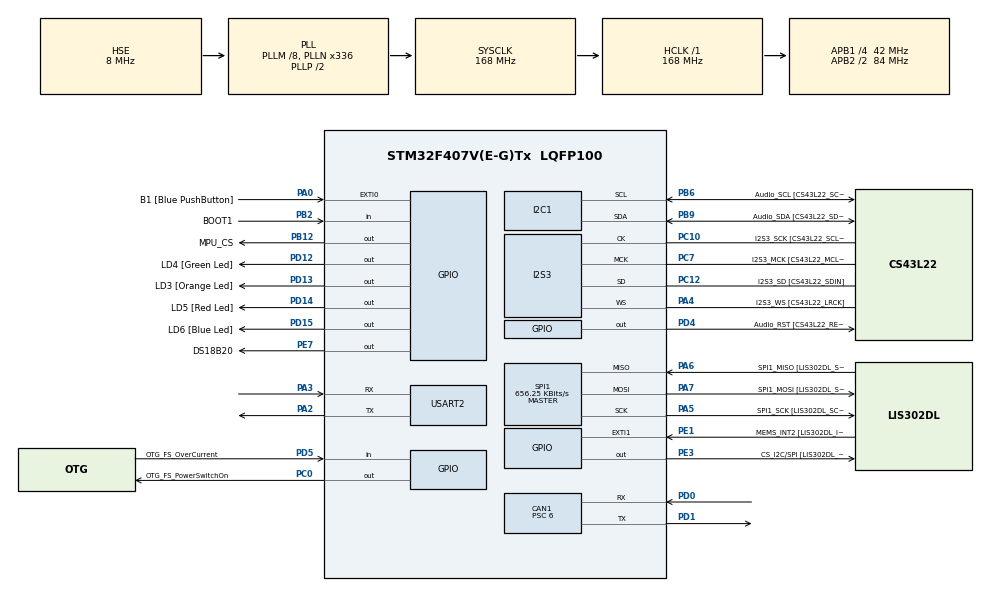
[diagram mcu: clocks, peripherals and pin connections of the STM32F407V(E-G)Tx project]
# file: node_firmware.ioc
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CAN1.ABOM=ENABLE
CAN1.BS1=CAN_BS1_11TQ
CAN1.BS2=CAN_BS2_2TQ
CAN1.CalculateBaudRate=500000
CAN1.CalculateTimeBit=2000
CAN1.CalculateTimeQuantum=142.85714285714286
CAN1.Mode=CAN_MODE_SILENT_LOOPBACK
CAN1.NART=ENABLE
CAN1.Prescaler=6
FREERTOS.Tasks01=LedTask,24,128,StartLedTask,Default,NULL,Dynamic,NULL,NULL;UartTask,16,256,StartUartTask,Default,NULL,Dynamic,NULL,NULL;SensorTask,32,256,StartSensorTask,Default,NULL,Dynamic,NULL,NULL;ProcessTask,24,512,StartProcessTask,Default,NULL,Dynamic,NULL,NULL;TempTask,16,256,StartTempTask,Default,NULL,Dynamic,NULL,NULL;CanTask,24,256,StartCanTask,Default,NULL,Dynamic,NULL,NULL
FREERTOS.configUSE_NEWLIB_REENTRANT=1
I2S3.AudioFreq-Half_Duplex_Master=I2S_AUDIOFREQ_96K
I2S3.ErrorAudioFreq=-2.34 %
I2S3.ErrorAudioFreq-Half_Duplex_Master=0.8 %
I2S3.FullDuplexMode=I2S_FULLDUPLEXMODE_DISABLE
I2S3.Instance=SPI$Index
I2S3.RealAudioFreq=93.75 KHz
I2S3.RealAudioFreq-Half_Duplex_Master=96.774 KHz
I2S3.VirtualMode=I2S_MODE_MASTER
Mcu.Family=STM32F4
Mcu.Name=STM32F407V(E-G)Tx
Mcu.Package=LQFP100
NVIC.PriorityGroup=NVIC_PRIORITYGROUP_4
NVIC.TIM6_DAC_IRQn=true\:15\:0\:false\:false\:true\:false\:false\:true\:true
NVIC.TimeBase=TIM6_DAC_IRQn
NVIC.TimeBaseIP=TIM6
PA0-WKUP.GPIO_Label=B1 [Blue PushButton]
PA0-WKUP.GPIO_ModeDefaultEXTI=GPIO_MODE_EVT_RISING
PA0-WKUP.GPIO_PuPd=GPIO_NOPULL
PA0-WKUP.Signal=GPXTI0
PA10.GPIO_Label=OTG_FS_ID
PA10.GPIO_Mode=GPIO_MODE_AF_PP
PA10.GPIO_PuPd=GPIO_NOPULL
PA10.GPIO_Speed=GPIO_SPEED_FREQ_LOW
PA10.Signal=USB_OTG_FS_ID
PA11.GPIO_Label=OTG_FS_DM
PA11.GPIO_Mode=GPIO_MODE_AF_PP
PA11.GPIO_PuPd=GPIO_NOPULL
PA11.GPIO_Speed=GPIO_SPEED_FREQ_LOW
PA11.Signal=USB_OTG_FS_DM
PA12.GPIO_Label=OTG_FS_DP
PA12.GPIO_Mode=GPIO_MODE_AF_PP
PA12.GPIO_PuPd=GPIO_NOPULL
PA12.GPIO_Speed=GPIO_SPEED_FREQ_LOW
PA12.Signal=USB_OTG_FS_DP
PA13.GPIO_Label=SWDIO
PA13.Mode=Trace_Asynchronous_SW
PA13.Signal=SYS_JTMS-SWDIO
PA14.GPIO_Label=SWCLK
PA14.Mode=Trace_Asynchronous_SW
PA14.Signal=SYS_JTCK-SWCLK
PA2.Mode=Asynchronous
PA2.Signal=USART2_TX
PA3.Mode=Asynchronous
PA3.Signal=USART2_RX
PA4.GPIO_Label=I2S3_WS [CS43L22_LRCK]
PA4.GPIO_Mode=GPIO_MODE_AF_PP
PA4.GPIO_PuPd=GPIO_NOPULL
PA4.GPIO_Speed=GPIO_SPEED_FREQ_LOW
PA4.Mode=Half_Duplex_Master
PA4.Signal=I2S3_WS
PA5.GPIO_Label=SPI1_SCK [LIS302DL_SCL/SPC]
PA5.GPIO_Mode=GPIO_MODE_AF_PP
PA5.GPIO_PuPd=GPIO_NOPULL
PA5.GPIO_Speed=GPIO_SPEED_FREQ_LOW
PA5.Mode=Full_Duplex_Master
PA5.Signal=SPI1_SCK
PA6.GPIO_Label=SPI1_MISO [LIS302DL_SDO]
PA6.GPIO_Mode=GPIO_MODE_AF_PP
PA6.GPIO_PuPd=GPIO_NOPULL
PA6.GPIO_Speed=GPIO_SPEED_FREQ_LOW
PA6.Mode=Full_Duplex_Master
PA6.Signal=SPI1_MISO
PA7.GPIO_Label=SPI1_MOSI [LIS302DL_SDA/SDI/SDO]
PA7.GPIO_Mode=GPIO_MODE_AF_PP
PA7.GPIO_PuPd=GPIO_NOPULL
PA7.GPIO_Speed=GPIO_SPEED_FREQ_LOW
PA7.Mode=Full_Duplex_Master
PA7.Signal=SPI1_MOSI
PA9.GPIO_Label=VBUS_FS
PA9.GPIO_Mode=GPIO_MODE_INPUT
PA9.GPIO_PuPd=GPIO_NOPULL
PA9.Signal=USB_OTG_FS_VBUS
PB10.GPIO_Label=CLK_IN [MP45DT02_CLK]
PB10.GPIO_Mode=GPIO_MODE_AF_PP
PB10.GPIO_PuPd=GPIO_NOPULL
PB10.GPIO_Speed=GPIO_SPEED_FREQ_LOW
PB10.Signal=I2S2_CK
PB12.GPIO_Label=MPU_CS
PB12.GPIO_Speed=GPIO_SPEED_FREQ_HIGH
PB12.PinState=GPIO_PIN_SET
PB12.Signal=GPIO_Output
PB2.GPIO_Label=BOOT1
PB2.GPIO_Mode=GPIO_MODE_INPUT
PB2.GPIO_PuPd=GPIO_NOPULL
PB2.Signal=GPIO_Input
PB3.GPIO_Label=SWO
PB3.Mode=Trace_Asynchronous_SW
PB3.Signal=SYS_JTDO-SWO
PB6.GPIO_Label=Audio_SCL [CS43L22_SCL]
PB6.GPIO_Mode=GPIO_MODE_AF_OD
PB6.GPIO_Pu=GPIO_PULLUP
PB6.GPIO_PuPd=GPIO_NOPULL
PB6.GPIO_Speed=GPIO_SPEED_FREQ_LOW
PB6.Mode=I2C
PB6.Signal=I2C1_SCL
PB9.GPIO_Label=Audio_SDA [CS43L22_SDA]
PB9.GPIO_Mode=GPIO_MODE_AF_OD
PB9.GPIO_Pu=GPIO_PULLUP
PB9.GPIO_PuPd=GPIO_NOPULL
PB9.GPIO_Speed=GPIO_SPEED_FREQ_LOW
PB9.Mode=I2C
PB9.Signal=I2C1_SDA
PC0.GPIO_Label=OTG_FS_PowerSwitchOn
PC0.GPIO_PuPd=GPIO_NOPULL
PC0.GPIO_Speed=GPIO_SPEED_FREQ_LOW
PC0.PinState=GPIO_PIN_SET
PC0.Signal=GPIO_Output
PC10.GPIO_Label=I2S3_SCK [CS43L22_SCLK]
PC10.GPIO_Mode=GPIO_MODE_AF_PP
PC10.GPIO_PuPd=GPIO_NOPULL
PC10.GPIO_Speed=GPIO_SPEED_FREQ_LOW
PC10.Mode=Half_Duplex_Master
PC10.Signal=I2S3_CK
PC12.GPIO_Label=I2S3_SD [CS43L22_SDIN]
PC12.GPIO_Mode=GPIO_MODE_AF_PP
PC12.GPIO_PuPd=GPIO_NOPULL
PC12.GPIO_Speed=GPIO_SPEED_FREQ_LOW
PC12.Mode=Half_Duplex_Master
PC12.Signal=I2S3_SD
PC14-OSC32_IN.GPIO_Label=PC14-OSC32_IN
PC14-OSC32_IN.Mode=LSE-External-Oscillator
PC14-OSC32_IN.Signal=RCC_OSC32_IN
PC15-OSC32_OUT.GPIO_Label=PC15-OSC32_OUT
PC15-OSC32_OUT.Mode=LSE-External-Oscillator
PC15-OSC32_OUT.Signal=RCC_OSC32_OUT
PC3.GPIO_Label=PDM_OUT [MP45DT02_DOUT]
PC3.GPIO_Mode=GPIO_MODE_AF_PP
PC3.GPIO_PuPd=GPIO_NOPULL
PC3.GPIO_Speed=GPIO_SPEED_FREQ_LOW
PC3.Signal=I2S2_SD
PC7.GPIO_Label=I2S3_MCK [CS43L22_MCLK]
PC7.GPIO_Mode=GPIO_MODE_AF_PP
PC7.GPIO_PuPd=GPIO_NOPULL
PC7.GPIO_Speed=GPIO_SPEED_FREQ_LOW
PC7.Mode=Master_Clock_Activated
PC7.Signal=I2S3_MCK
PD0.GPIO_PuPd=GPIO_PULLUP
PD0.Mode=CAN_Activate
PD0.Signal=CAN1_RX
PD1.Mode=CAN_Activate
PD1.Signal=CAN1_TX
PD12.GPIO_Label=LD4 [Green Led]
PD12.GPIO_PuPd=GPIO_NOPULL
PD12.GPIO_Speed=GPIO_SPEED_FREQ_LOW
PD12.Signal=GPIO_Output
PD13.GPIO_Label=LD3 [Orange Led]
PD13.GPIO_PuPd=GPIO_NOPULL
PD13.GPIO_Speed=GPIO_SPEED_FREQ_LOW
PD13.Signal=GPIO_Output
PD14.GPIO_Label=LD5 [Red Led]
PD14.GPIO_PuPd=GPIO_NOPULL
PD14.GPIO_Speed=GPIO_SPEED_FREQ_LOW
PD14.Signal=GPIO_Output
PD15.GPIO_Label=LD6 [Blue Led]
PD15.GPIO_PuPd=GPIO_NOPULL
PD15.GPIO_Speed=GPIO_SPEED_FREQ_LOW
PD15.Signal=GPIO_Output
PD4.GPIO_Label=Audio_RST [CS43L22_RESET]
PD4.GPIO_PuPd=GPIO_NOPULL
PD4.GPIO_Speed=GPIO_SPEED_FREQ_LOW
PD4.Signal=GPIO_Output
PD5.GPIO_Label=OTG_FS_OverCurrent
PD5.GPIO_Mode=GPIO_MODE_INPUT
PD5.GPIO_PuPd=GPIO_NOPULL
PD5.Signal=GPIO_Input
PE1.GPIO_Label=MEMS_INT2 [LIS302DL_INT2]
PE1.GPIO_ModeDefaultEXTI=GPIO_MODE_EVT_RISING
PE1.GPIO_PuPd=GPIO_NOPULL
PE1.Signal=GPXTI1
PE3.GPIO_Label=CS_I2C/SPI [LIS302DL_CS_I2C/SPI]
PE3.GPIO_PuPd=GPIO_NOPULL
PE3.GPIO_Speed=GPIO_SPEED_FREQ_LOW
PE3.Signal=GPIO_Output
PE7.GPIO_Label=DS18B20
PE7.GPIO_ModeDefaultOutputPP=GPIO_MODE_OUTPUT_OD
PE7.GPIO_PuPd=GPIO_NOPULL
PE7.GPIO_Speed=GPIO_SPEED_FREQ_HIGH
PE7.PinState=GPIO_PIN_SET
PE7.Signal=GPIO_Output
PH0-OSC_IN.GPIO_Label=PH0-OSC_IN
PH0-OSC_IN.Mode=HSE-External-Oscillator
PH0-OSC_IN.Signal=RCC_OSC_IN
PH1-OSC_OUT.GPIO_Label=PH1-OSC_OUT
PH1-OSC_OUT.Mode=HSE-External-Oscillator
PH1-OSC_OUT.Signal=RCC_OSC_OUT
ProjectManager.HeapSize=0x200
ProjectManager.StackSize=0x400
ProjectManager.TargetToolchain=STM32CubeIDE
RCC.48MHZClocksFreq_Value=48000000
RCC.AHBFreq_Value=168000000
RCC.APB1CLKDivider=RCC_HCLK_DIV4
RCC.APB1Freq_Value=42000000
RCC.APB1TimFreq_Value=84000000
RCC.APB2CLKDivider=RCC_HCLK_DIV2
RCC.APB2Freq_Value=84000000
RCC.APB2TimFreq_Value=168000000
RCC.CortexFreq_Value=168000000
RCC.HCLKFreq_Value=168000000
RCC.HSE_VALUE=8000000
RCC.HSI_VALUE=16000000
RCC.PLLM=8
RCC.PLLN=336
RCC.PLLQ=7
RCC.PLLSourceVirtual=RCC_PLLSOURCE_HSE
RCC.SYSCLKFreq_VALUE=168000000
RCC.SYSCLKSource=RCC_SYSCLKSOURCE_PLLCLK
RCC.VCOOutputFreq_Value=336000000
SPI1.BaudRatePrescaler=SPI_BAUDRATEPRESCALER_128
SPI1.BaudRatePrescaler-Full_Duplex_Master=SPI_BAUDRATEPRESCALER_2
SPI1.CLKPhase=SPI_PHASE_2EDGE
SPI1.CLKPolarity=SPI_POLARITY_HIGH
SPI1.CalculateBaudRate=656.25 KBits/s
SPI1.CalculateBaudRate-Full_Duplex_Master=42.0 MBits/s
SPI1.Direction=SPI_DIRECTION_2LINES
SPI1.Mode=SPI_MODE_MASTER
SPI1.Mode-Full_Duplex_Master=SPI_MODE_MASTER
SPI1.VirtualType=VM_MASTER
USART2.VirtualMode=VM_ASYNC
VP_FREERTOS_VS_CMSIS_V2.Mode=CMSIS_V2
VP_SYS_VS_tim6.Mode=TIM6
board=STM32F407G-DISC1

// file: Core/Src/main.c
/* USER CODE BEGIN Header */
/**
  ******************************************************************************
  * @file           : main.c
  * @brief          : Main program body
  ******************************************************************************
  * @attention
  *
  * Copyright (c) 2026 STMicroelectronics.
  * All rights reserved.
  *
  * This software is licensed under terms that can be found in the LICENSE file
  * in the root directory of this software component.
  * If no LICENSE file comes with this software, it is provided AS-IS.
  *
  ******************************************************************************
  */
/* USER CODE END Header */
#include "main.h"
#include "cmsis_os.h"
#include "can.h"
#include "i2c.h"
#include "i2s.h"
#include "spi.h"
#include "usart.h"
#include "gpio.h"

void SystemClock_Config(void);
void MX_FREERTOS_Init(void);

int main(void)
{

  /* MCU Configuration--------------------------------------------------------*/

  /* Reset of all peripherals, Initializes the Flash interface and the Systick. */
  HAL_Init();

  /* Configure the system clock */
  SystemClock_Config();

  /* Initialize all configured peripherals */
  MX_GPIO_Init();
  MX_I2C1_Init();
  MX_I2S3_Init();
  MX_SPI1_Init();
  MX_USART2_UART_Init();
  MX_CAN1_Init();

  /* Init scheduler */
  osKernelInitialize();  /* Call init function for freertos objects (in cmsis_os2.c) */
  MX_FREERTOS_Init();

  /* Start scheduler */
  osKernelStart();

  /* We should never get here as control is now taken by the scheduler */

  /* Infinite loop */
  while (1)
  {

  }
}

void SystemClock_Config(void)
{
  RCC_OscInitTypeDef RCC_OscInitStruct = {0};
  RCC_ClkInitTypeDef RCC_ClkInitStruct = {0};

  /** Configure the main internal regulator output voltage
  */
  __HAL_RCC_PWR_CLK_ENABLE();
  __HAL_PWR_VOLTAGESCALING_CONFIG(PWR_REGULATOR_VOLTAGE_SCALE1);

  /** Initializes the RCC Oscillators according to the specified parameters
  * in the RCC_OscInitTypeDef structure.
  */
  RCC_OscInitStruct.OscillatorType = RCC_OSCILLATORTYPE_HSE;
  RCC_OscInitStruct.HSEState = RCC_HSE_ON;
  RCC_OscInitStruct.PLL.PLLState = RCC_PLL_ON;
  RCC_OscInitStruct.PLL.PLLSource = RCC_PLLSOURCE_HSE;
  RCC_OscInitStruct.PLL.PLLM = 8;
  RCC_OscInitStruct.PLL.PLLN = 336;
  RCC_OscInitStruct.PLL.PLLP = RCC_PLLP_DIV2;
  RCC_OscInitStruct.PLL.PLLQ = 7;
  if (HAL_RCC_OscConfig(&RCC_OscInitStruct) != HAL_OK)
  {
    Error_Handler();
  }

  /** Initializes the CPU, AHB and APB buses clocks
  */
  RCC_ClkInitStruct.ClockType = RCC_CLOCKTYPE_HCLK|RCC_CLOCKTYPE_SYSCLK
                              |RCC_CLOCKTYPE_PCLK1|RCC_CLOCKTYPE_PCLK2;
  RCC_ClkInitStruct.SYSCLKSource = RCC_SYSCLKSOURCE_PLLCLK;
  RCC_ClkInitStruct.AHBCLKDivider = RCC_SYSCLK_DIV1;
  RCC_ClkInitStruct.APB1CLKDivider = RCC_HCLK_DIV4;
  RCC_ClkInitStruct.APB2CLKDivider = RCC_HCLK_DIV2;

  if (HAL_RCC_ClockConfig(&RCC_ClkInitStruct, FLASH_LATENCY_5) != HAL_OK)
  {
    Error_Handler();
  }
}

void HAL_TIM_PeriodElapsedCallback(TIM_HandleTypeDef *htim)
{
  if (htim->Instance == TIM6)
  {
    HAL_IncTick();
  }
}

void Error_Handler(void)
{
  __disable_irq();
  while (1)
  {
  }
}

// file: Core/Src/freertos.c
/* USER CODE BEGIN Header */
/**
  ******************************************************************************
  * File Name          : freertos.c
  * Description        : Code for freertos applications
  ******************************************************************************
  * @attention
  *
  * Copyright (c) 2026 STMicroelectronics.
  * All rights reserved.
  *
  * This software is licensed under terms that can be found in the LICENSE file
  * in the root directory of this software component.
  * If no LICENSE file comes with this software, it is provided AS-IS.
  *
  ******************************************************************************
  */
/* USER CODE END Header */

#include "FreeRTOS.h"
#include "task.h"
#include "main.h"
#include "cmsis_os.h"

/* USER CODE BEGIN Includes */
#include <stdio.h>
#include "spi.h"
#include "can.h"
#include <math.h>
#include <stdlib.h>

/* USER CODE END Includes */

/* USER CODE BEGIN PTD */
/* One accelerometer sample sent from SensorTask to ProcessTask */
typedef struct {
  int16_t  ax;     /* raw value, X axis */
  int16_t  ay;     /* raw value, Y axis */
  int16_t  az;     /* raw value, Z axis */
  uint32_t tick;   /* time of the measurement, in ms */
} AccelSample_t;
/* Vibration features computed by ProcessTask over 1 s */
typedef struct {
  uint16_t rms_mg;    /* RMS of the vibration (gravity removed) */
  uint16_t peak_mg;   /* highest vibration value in the window */
  uint32_t tick;      /* end of the window, in ms */
} VibFeature_t;

/* Latest temperature, shared between TempTask and UartTask */
typedef struct {
  float   temp_c;
  uint8_t status;     /* 0 = OK, 1 = sensor not found, 2 = read error (PROTOCOL.md) */
} TempData_t;

/* USER CODE END PTD */

/* USER CODE BEGIN PD */
#define VIB_WINDOW   100      /* 100 samples x 10 ms = 1 s window */
#define RAW_PER_G    16384    /* +-2 g range: 16384 raw units = 1 g */

/* CAN protocol (docs/PROTOCOL.md): ID = 0x100 * NODE_ID + message type */
#define NODE_ID          1
#define CAN_MSG_VIB      0x01
#define CAN_MSG_TEMP     0x02
#define CAN_MSG_HB       0x03
#define CAN_ID(type)     (0x100 * NODE_ID + (type))

/* Error flags sent in the heartbeat (byte 1) */
#define ERR_IMU          0x01
#define ERR_TEMP         0x02
#define ERR_QUEUE_FULL   0x04
#define ERR_CAN_TX       0x08

/* USER CODE END PD */

/* USER CODE BEGIN Variables */
osMessageQueueId_t accelQueueHandle;
osMessageQueueId_t featureQueueHandle;
osMutexId_t        tempMutexHandle;
TempData_t         g_temp = { 0.0f, 1 };   /* "not found" until the first reading */
volatile uint8_t   g_err_flags = 0;        /* ERR_xxx bits, sent in the heartbeat */

/* USER CODE END Variables */
/* Definitions for LedTask */
osThreadId_t LedTaskHandle;
const osThreadAttr_t LedTask_attributes = {
  .name = "LedTask",
  .stack_size = 128 * 4,
  .priority = (osPriority_t) osPriorityNormal,
};
/* Definitions for UartTask */
osThreadId_t UartTaskHandle;
const osThreadAttr_t UartTask_attributes = {
  .name = "UartTask",
  .stack_size = 256 * 4,
  .priority = (osPriority_t) osPriorityBelowNormal,
};
/* Definitions for SensorTask */
osThreadId_t SensorTaskHandle;
const osThreadAttr_t SensorTask_attributes = {
  .name = "SensorTask",
  .stack_size = 256 * 4,
  .priority = (osPriority_t) osPriorityAboveNormal,
};
/* Definitions for ProcessTask */
osThreadId_t ProcessTaskHandle;
const osThreadAttr_t ProcessTask_attributes = {
  .name = "ProcessTask",
  .stack_size = 512 * 4,
  .priority = (osPriority_t) osPriorityNormal,
};
/* Definitions for TempTask */
osThreadId_t TempTaskHandle;
const osThreadAttr_t TempTask_attributes = {
  .name = "TempTask",
  .stack_size = 256 * 4,
  .priority = (osPriority_t) osPriorityBelowNormal,
};
/* Definitions for CanTask */
osThreadId_t CanTaskHandle;
const osThreadAttr_t CanTask_attributes = {
  .name = "CanTask",
  .stack_size = 256 * 4,
  .priority = (osPriority_t) osPriorityNormal,
};

/* USER CODE BEGIN FunctionPrototypes */

/* Read one MPU9250 register over SPI1 */
static uint8_t mpu_read(uint8_t reg)
{
  uint8_t tx[2] = { reg | 0x80, 0x00 };   /* bit 7 = 1 means "read" */
  uint8_t rx[2] = { 0 };
  HAL_GPIO_WritePin(MPU_CS_GPIO_Port, MPU_CS_Pin, GPIO_PIN_RESET); /* select */
  HAL_SPI_TransmitReceive(&hspi1, tx, rx, 2, 100);
  HAL_GPIO_WritePin(MPU_CS_GPIO_Port, MPU_CS_Pin, GPIO_PIN_SET);   /* release */
  return rx[1];                            /* 2nd byte = register value */
}

/* Write one MPU9250 register over SPI1 */
static void mpu_write(uint8_t reg, uint8_t value)
{
  uint8_t tx[2] = { reg & 0x7F, value };  /* bit 7 = 0 means "write" */
  HAL_GPIO_WritePin(MPU_CS_GPIO_Port, MPU_CS_Pin, GPIO_PIN_RESET);
  HAL_SPI_Transmit(&hspi1, tx, 2, 100);
  HAL_GPIO_WritePin(MPU_CS_GPIO_Port, MPU_CS_Pin, GPIO_PIN_SET);
}
/* Read several MPU registers in a row (burst read) */
static void mpu_read_burst(uint8_t reg, uint8_t *buf, uint16_t len)
{
  uint8_t addr = reg | 0x80;                                    /* read */
  HAL_GPIO_WritePin(MPU_CS_GPIO_Port, MPU_CS_Pin, GPIO_PIN_RESET);
  HAL_SPI_Transmit(&hspi1, &addr, 1, 100);
  HAL_SPI_Receive(&hspi1, buf, len, 100);
  HAL_GPIO_WritePin(MPU_CS_GPIO_Port, MPU_CS_Pin, GPIO_PIN_SET);
}
/* ---------- microsecond delay with the DWT cycle counter ---------- */
static void dwt_init(void)
{
  CoreDebug->DEMCR |= CoreDebug_DEMCR_TRCENA_Msk;
  DWT->CYCCNT = 0;
  DWT->CTRL  |= DWT_CTRL_CYCCNTENA_Msk;
}

static void delay_us(uint32_t us)
{
  uint32_t start = DWT->CYCCNT;
  uint32_t ticks = us * (SystemCoreClock / 1000000U);
  while ((DWT->CYCCNT - start) < ticks) { }
}

/* ---------- 1-Wire on PE7 (open drain + 4.7 k pull-up) ---------- */
#define OW_LOW()   HAL_GPIO_WritePin(DS18B20_GPIO_Port, DS18B20_Pin, GPIO_PIN_RESET)
#define OW_REL()   HAL_GPIO_WritePin(DS18B20_GPIO_Port, DS18B20_Pin, GPIO_PIN_SET)
#define OW_READ()  HAL_GPIO_ReadPin(DS18B20_GPIO_Port, DS18B20_Pin)

/* Reset pulse; returns 1 if a sensor answers (presence pulse) */
static uint8_t ow_reset(void)
{
  uint8_t present;
  taskENTER_CRITICAL();             /* 1-Wire timing must not be interrupted */
  OW_LOW();  delay_us(480);
  OW_REL();  delay_us(70);
  present = (OW_READ() == GPIO_PIN_RESET);
  taskEXIT_CRITICAL();
  delay_us(410);
  return present;
}

static void ow_write_bit(uint8_t b)
{
  taskENTER_CRITICAL();
  OW_LOW();
  if (b) { delay_us(6);  OW_REL(); delay_us(64); }
  else   { delay_us(60); OW_REL(); delay_us(10); }
  taskEXIT_CRITICAL();
}

static uint8_t ow_read_bit(void)
{
  uint8_t b;
  taskENTER_CRITICAL();
  OW_LOW();  delay_us(6);
  OW_REL();  delay_us(9);
  b = (OW_READ() == GPIO_PIN_SET);
  taskEXIT_CRITICAL();
  delay_us(55);
  return b;
}

static void ow_write_byte(uint8_t v)
{
  for (int i = 0; i < 8; i++) { ow_write_bit(v & 0x01); v >>= 1; }   /* LSB first */
}

static uint8_t ow_read_byte(void)
{
  uint8_t v = 0;
  for (int i = 0; i < 8; i++) { if (ow_read_bit()) v |= (1 << i); }
  return v;
}

/* Dallas/Maxim CRC-8, to check the data is not corrupted */
static uint8_t ow_crc8(const uint8_t *d, int len)
{
  uint8_t crc = 0;
  for (int i = 0; i < len; i++) {
    uint8_t in = d[i];
    for (int j = 0; j < 8; j++) {
      uint8_t mix = (crc ^ in) & 0x01;
      crc >>= 1;
      if (mix) crc ^= 0x8C;
      in >>= 1;
    }
  }
  return crc;
}

/* Reads the DS18B20. Returns 0 = OK, 1 = not found, 2 = read error (CRC) */
static uint8_t ds18b20_read(float *temp_c)
{
  uint8_t sp[9];
  if (!ow_reset()) return 1;
  ow_write_byte(0xCC);          /* SKIP ROM: only one sensor on the wire */
  ow_write_byte(0x44);          /* CONVERT T: start a measurement */
  osDelay(750);                 /* 12-bit conversion takes up to 750 ms */
  if (!ow_reset()) return 1;
  ow_write_byte(0xCC);
  ow_write_byte(0xBE);          /* READ SCRATCHPAD: 9 bytes */
  for (int i = 0; i < 9; i++) sp[i] = ow_read_byte();
  if (ow_crc8(sp, 8) != sp[8]) return 2;
  int16_t raw = (int16_t)((sp[1] << 8) | sp[0]);
  *temp_c = raw / 16.0f;        /* 1 LSB = 0.0625 degC */
  return 0;
}

/* ---------- error flags (shared by several tasks) ---------- */
static void set_err(uint8_t flag)
{
  taskENTER_CRITICAL();          /* read-modify-write must not be interrupted */
  g_err_flags |= flag;
  taskEXIT_CRITICAL();
}

static void clear_err(uint8_t flag)
{
  taskENTER_CRITICAL();
  g_err_flags &= (uint8_t)~flag;
  taskEXIT_CRITICAL();
}

/* ---------- CAN ---------- */
/* Accept every standard frame into RX FIFO 0, then start CAN1 */
/* Accept every standard frame into RX FIFO 0, then start CAN1 */
static void can_start(void)
{
  CAN_FilterTypeDef f = {0};
  f.FilterBank           = 0;
  f.FilterMode           = CAN_FILTERMODE_IDMASK;
  f.FilterScale          = CAN_FILTERSCALE_32BIT;
  f.FilterIdHigh         = 0x0000;
  f.FilterIdLow          = 0x0000;
  f.FilterMaskIdHigh     = 0x0000;   /* mask 0 = accept all IDs */
  f.FilterMaskIdLow      = 0x0000;
  f.FilterFIFOAssignment = CAN_RX_FIFO0;
  f.FilterActivation     = ENABLE;
  f.SlaveStartFilterBank = 14;

  HAL_StatusTypeDef st1 = HAL_CAN_ConfigFilter(&hcan1, &f);
  HAL_StatusTypeDef st2 = HAL_CAN_Start(&hcan1);
  printf("CAN filter=%d start=%d mode=%s err=0x%08lX state=%d MSR=0x%08lX BTR=0x%08lX\r\n",
         st1, st2,
         hcan1.Init.Mode == CAN_MODE_SILENT_LOOPBACK ? "silent-loopback" : "NOT loopback",
         hcan1.ErrorCode, hcan1.State, CAN1->MSR, CAN1->BTR);
}

/* Send one standard frame; waits up to 10 ms for a free mailbox */
static void can_send(uint16_t id, const uint8_t *data, uint8_t len)
{
  CAN_TxHeaderTypeDef h = {0};
  uint32_t mailbox;
  h.StdId = id;
  h.IDE   = CAN_ID_STD;
  h.RTR   = CAN_RTR_DATA;
  h.DLC   = len;

  uint32_t t0 = osKernelGetTickCount();
  while (HAL_CAN_GetTxMailboxesFreeLevel(&hcan1) == 0)
  {
    if (osKernelGetTickCount() - t0 > 10) { set_err(ERR_CAN_TX); return; }
    osDelay(1);
  }
  if (HAL_CAN_AddTxMessage(&hcan1, &h, (uint8_t *)data, &mailbox) != HAL_OK)
    set_err(ERR_CAN_TX);
}

/* Little-endian helpers, as in PROTOCOL.md */
static void put_u16(uint8_t *p, uint16_t v) { p[0] = v & 0xFF; p[1] = v >> 8; }
static void put_u32(uint8_t *p, uint32_t v)
{
  p[0] = v & 0xFF; p[1] = (v >> 8) & 0xFF; p[2] = (v >> 16) & 0xFF; p[3] = v >> 24;
}

/* USER CODE END FunctionPrototypes */

void StartLedTask(void *argument);
void StartUartTask(void *argument);
void StartSensorTask(void *argument);
void StartProcessTask(void *argument);
void StartTempTask(void *argument);
void StartCanTask(void *argument);

void MX_FREERTOS_Init(void); /* (MISRA C 2004 rule 8.1) */

void MX_FREERTOS_Init(void) {

  /* USER CODE BEGIN RTOS_MUTEX */
  tempMutexHandle = osMutexNew(NULL);
  /* USER CODE END RTOS_MUTEX */

  /* USER CODE BEGIN RTOS_QUEUES */
  /* add queues, ... */
  /* Queue of 32 raw samples: SensorTask -> ProcessTask */
  accelQueueHandle = osMessageQueueNew(32, sizeof(AccelSample_t), NULL);
  /* Queue of 8 vibration results: ProcessTask -> CanTask */
  featureQueueHandle = osMessageQueueNew(8, sizeof(VibFeature_t), NULL);
  /* USER CODE END RTOS_QUEUES */

  /* Create the thread(s) */
  /* creation of LedTask */
  LedTaskHandle = osThreadNew(StartLedTask, NULL, &LedTask_attributes);

  /* creation of UartTask */
  UartTaskHandle = osThreadNew(StartUartTask, NULL, &UartTask_attributes);

  /* creation of SensorTask */
  SensorTaskHandle = osThreadNew(StartSensorTask, NULL, &SensorTask_attributes);

  /* creation of ProcessTask */
  ProcessTaskHandle = osThreadNew(StartProcessTask, NULL, &ProcessTask_attributes);

  /* creation of TempTask */
  TempTaskHandle = osThreadNew(StartTempTask, NULL, &TempTask_attributes);

  /* creation of CanTask */
  CanTaskHandle = osThreadNew(StartCanTask, NULL, &CanTask_attributes);

}

/* USER CODE BEGIN Header_StartLedTask */
/**
  * @brief  Function implementing the LedTask thread: green LED = system alive.
  * @param  argument: Not used
  * @retval None
  */
/* USER CODE END Header_StartLedTask */
void StartLedTask(void *argument)
{
  /* USER CODE BEGIN StartLedTask */
  for(;;)
  {
    HAL_GPIO_TogglePin(LD4_GPIO_Port, LD4_Pin);   /* green LED = system alive */
    osDelay(500);
  }
  /* USER CODE END StartLedTask */
}

/* USER CODE BEGIN Header_StartUartTask */
/* CAN monitor: prints every frame received on CAN1 (SLCAN format + decoded) */
/* USER CODE END Header_StartUartTask */
void StartUartTask(void *argument)
{
  /* USER CODE BEGIN StartUartTask */
  setvbuf(stdout, NULL, _IONBF, 0);
  printf("\r\n=== node_firmware started (node %d) ===\r\n", NODE_ID);

  CAN_RxHeaderTypeDef h;
  uint8_t d[8];
  for(;;)
  {
    while (HAL_CAN_GetRxFifoFillLevel(&hcan1, CAN_RX_FIFO0) > 0)
    {
      if (HAL_CAN_GetRxMessage(&hcan1, CAN_RX_FIFO0, &h, d) != HAL_OK) break;

      /* 1) SLCAN text line, e.g. "t1015 2C01A0030A" (what a USB-CAN adapter sends to Linux) */
      printf("t%03lX%lu", h.StdId, h.DLC);
      for (uint32_t i = 0; i < h.DLC; i++) printf("%02X", d[i]);

      /* 2) human-readable decoding, same rules as gateway/protocol.py */
      uint8_t type = h.StdId & 0xFF;
      if (type == CAN_MSG_VIB && h.DLC >= 5)
        printf("   -> vibration RMS=%u mg peak=%u mg counter=%u\r\n",
               d[0] | (d[1] << 8), d[2] | (d[3] << 8), d[4]);
      else if (type == CAN_MSG_TEMP && h.DLC >= 3)
      {
        int16_t t100 = (int16_t)(d[0] | (d[1] << 8));
        printf("   -> temperature %d.%02d C status=%u\r\n", t100 / 100, abs(t100 % 100), d[2]);
      }
      else if (type == CAN_MSG_HB && h.DLC >= 6)
        printf("   -> heartbeat state=%u flags=0x%02X uptime=%lu s\r\n", d[0], d[1],
               (uint32_t)(d[2] | (d[3] << 8) | (d[4] << 16) | ((uint32_t)d[5] << 24)));
      else
        printf("\r\n");
    }
    osDelay(10);
  }
  /* USER CODE END StartUartTask */
}

/* USER CODE BEGIN Header_StartSensorTask */
/* Reads the MPU accelerometer every 10 ms and sends the sample to accelQueue */
/* USER CODE END Header_StartSensorTask */
void StartSensorTask(void *argument)
{
  /* USER CODE BEGIN StartSensorTask */
  /* Keep the on-board LIS3DSH deselected: it shares SPI1 */
  HAL_GPIO_WritePin(GPIOE, GPIO_PIN_3, GPIO_PIN_SET);

  /* --- MPU init (no software reset: it leaves the data registers at 0 over SPI) --- */
  osDelay(100);              /* let the sensor power up */
  mpu_write(0x6A, 0x10);     /* USER_CTRL: SPI only */
  mpu_write(0x6B, 0x01);     /* PWR_MGMT_1: awake, best clock source */
  mpu_write(0x1C, 0x00);     /* ACCEL_CONFIG: +-2 g */
  uint8_t who = mpu_read(0x75);
  printf("MPU WHO_AM_I = 0x%02X\r\n", who);
  if (who != 0x70 && who != 0x71 && who != 0x73) set_err(ERR_IMU);   /* sensor missing or wrong */

  uint32_t next = osKernelGetTickCount();
  for(;;)
  {
    uint8_t raw[6];
    mpu_read_burst(0x3B, raw, 6);   /* ACCEL_XOUT_H ... ACCEL_ZOUT_L */

    AccelSample_t s;
    s.ax   = (int16_t)((raw[0] << 8) | raw[1]);
    s.ay   = (int16_t)((raw[2] << 8) | raw[3]);
    s.az   = (int16_t)((raw[4] << 8) | raw[5]);
    s.tick = osKernelGetTickCount();

    osMessageQueuePut(accelQueueHandle, &s, 0, 0);  /* don't wait if full */

    next += 10;
    osDelayUntil(next);             /* exactly every 10 ms (100 Hz) */
  }
  /* USER CODE END StartSensorTask */
}

/* USER CODE BEGIN Header_StartProcessTask */
/* Every 100 samples (1 s): removes gravity, computes vibration RMS and peak */
/* USER CODE END Header_StartProcessTask */
void StartProcessTask(void *argument)
{
  /* USER CODE BEGIN StartProcessTask */
  static int16_t bx[VIB_WINDOW], by[VIB_WINDOW], bz[VIB_WINDOW];
  int n = 0;
  AccelSample_t s;

  for(;;)
  {
    if (osMessageQueueGet(accelQueueHandle, &s, NULL, osWaitForever) != osOK) continue;
    bx[n] = s.ax;  by[n] = s.ay;  bz[n] = s.az;
    n++;
    if (n < VIB_WINDOW) continue;

    /* 1) mean of each axis = gravity + sensor offset (the "DC" part) */
    int32_t sx = 0, sy = 0, sz = 0;
    for (int i = 0; i < VIB_WINDOW; i++) { sx += bx[i]; sy += by[i]; sz += bz[i]; }
    float mx = (float)sx / VIB_WINDOW, my = (float)sy / VIB_WINDOW, mz = (float)sz / VIB_WINDOW;

    /* 2) remove it: what is left is the vibration only */
    float sum2 = 0.0f, peak = 0.0f;
    for (int i = 0; i < VIB_WINDOW; i++)
    {
      float dx = bx[i] - mx, dy = by[i] - my, dz = bz[i] - mz;
      float m2 = dx * dx + dy * dy + dz * dz;      /* squared amplitude of this sample */
      sum2 += m2;
      float m = sqrtf(m2);
      if (m > peak) peak = m;
    }

    /* 3) RMS = sqrt(mean of squares); convert raw units to mg */
    VibFeature_t f;
    f.rms_mg  = (uint16_t)(sqrtf(sum2 / VIB_WINDOW) * 1000.0f / RAW_PER_G);
    f.peak_mg = (uint16_t)(peak * 1000.0f / RAW_PER_G);
    f.tick    = s.tick;
    if (osMessageQueuePut(featureQueueHandle, &f, 0, 0) != osOK) set_err(ERR_QUEUE_FULL);

    n = 0;                                          /* start the next window */
  }
  /* USER CODE END StartProcessTask */
}

/* USER CODE BEGIN Header_StartTempTask */
/* Reads the DS18B20 about once per second and shares the result under a mutex */
/* USER CODE END Header_StartTempTask */
void StartTempTask(void *argument)
{
  /* USER CODE BEGIN StartTempTask */
  dwt_init();                                       /* for the microsecond delays */
  for(;;)
  {
    float t = 0.0f;
    uint8_t st = ds18b20_read(&t);                  /* takes about 750 ms when present */

    osMutexAcquire(tempMutexHandle, osWaitForever);
    g_temp.status = st;
    if (st == 0) g_temp.temp_c = t;
    osMutexRelease(tempMutexHandle);

    if (st == 2) set_err(ERR_TEMP); else clear_err(ERR_TEMP);   /* "not found" is not an error */

    osDelay(st == 0 ? 250 : 1000);                  /* about one reading per second */
  }
  /* USER CODE END StartTempTask */
}

/* USER CODE BEGIN Header_StartCanTask */
/* Sends the node data on CAN1 every second: vibration, temperature, heartbeat */
/* USER CODE END Header_StartCanTask */
void StartCanTask(void *argument)
{
  /* USER CODE BEGIN StartCanTask */
  can_start();
  uint8_t counter = 0;

  for(;;)
  {
    uint8_t d[8];
    VibFeature_t f;

    /* 1) vibration: one result per second from ProcessTask */
    if (osMessageQueueGet(featureQueueHandle, &f, NULL, 1100) == osOK)
    {
      put_u16(&d[0], f.rms_mg);
      put_u16(&d[2], f.peak_mg);
      d[4] = counter++;                       /* lets the gateway detect lost frames */
      can_send(CAN_ID(CAN_MSG_VIB), d, 5);
    }
    else
    {
      set_err(ERR_IMU);                       /* no vibration data for more than 1 s */
    }

    /* 2) temperature: latest value from TempTask */
    TempData_t t;
    osMutexAcquire(tempMutexHandle, osWaitForever);
    t = g_temp;
    osMutexRelease(tempMutexHandle);
    put_u16(&d[0], (uint16_t)(int16_t)(t.temp_c * 100.0f));   /* 0.01 degC units */
    d[2] = t.status;
    can_send(CAN_ID(CAN_MSG_TEMP), d, 3);

    /* 3) heartbeat: node state, error flags, uptime */
    uint8_t flags = g_err_flags;
    d[0] = (flags == 0) ? 1 : 2;              /* 1 = running, 2 = error */
    d[1] = flags;
    put_u32(&d[2], osKernelGetTickCount() / 1000);
    can_send(CAN_ID(CAN_MSG_HB), d, 6);
    clear_err(ERR_QUEUE_FULL | ERR_CAN_TX);   /* reported once, then cleared */
  }
  /* USER CODE END StartCanTask */
}
